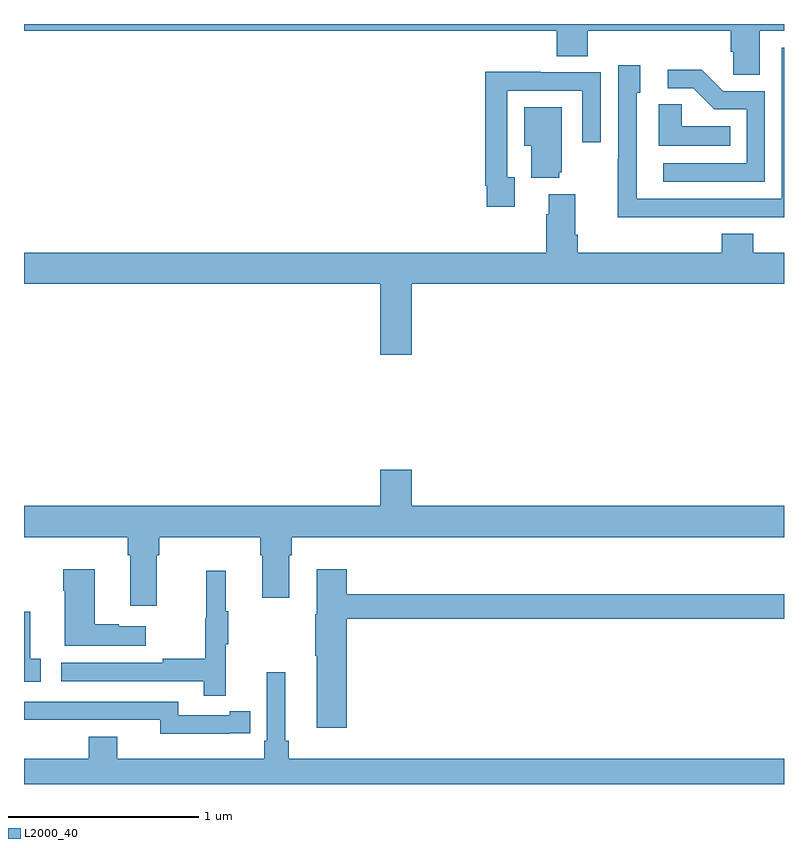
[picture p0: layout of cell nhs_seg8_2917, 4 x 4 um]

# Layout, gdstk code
import gdstk
lib = gdstk.Library(unit=1e-6, precision=1e-09)
def P(c, l, *ps):  # polygons
    for p in ps: c.add(gdstk.Polygon(p, *l))
L2000_40 = (2000, 40)

nhs_seg8_2917 = lib.new_cell('nhs_seg8_2917')
P(nhs_seg8_2917, L2000_40, [(298.873,1085.864),(299,1085.864),(299,1085.9),(295,1085.9),(295,1085.864),(297.803,1085.864),(297.803,1085.731),(297.968,1085.731),(297.968,1085.864),(298.721,1085.864),(298.721,1085.755),(298.734,1085.755),(298.734,1085.632),(298.873,1085.632)],
  [(298.589,1084.884),(299,1084.884),(299,1085.775),(298.989,1085.775),(298.989,1084.98),(298.224,1084.98),(298.224,1085.538),(298.243,1085.538),(298.243,1085.683),(298.128,1085.683),(298.128,1085.189),(298.126,1085.189),(298.126,1084.883),(298.589,1084.883)],
  [(298.899,1085.547),(298.68,1085.547),(298.567,1085.66),(298.389,1085.66),(298.389,1085.562),(298.523,1085.562),(298.634,1085.451),(298.803,1085.451),(298.803,1085.166),(298.365,1085.166),(298.365,1085.07),(298.899,1085.07)],
  [(297.583,1085.094),(297.543,1085.094),(297.543,1085.55),(297.939,1085.55),(297.939,1085.277),(298.035,1085.277),(298.035,1085.646),(297.719,1085.646),(297.719,1085.648),(297.427,1085.648),(297.427,1085.05),(297.435,1085.05),(297.435,1084.938),(297.583,1084.938)],
  [(298.718,1085.362),(298.461,1085.362),(298.461,1085.477),(298.34,1085.477),(298.34,1085.258),(298.718,1085.258)],
  [(297.818,1085.121),(297.829,1085.121),(297.829,1085.461),(297.632,1085.461),(297.632,1085.258),(297.671,1085.258),(297.671,1085.09),(297.818,1085.09)],
  [(297.04,1084.532),(299,1084.532),(299,1084.696),(298.838,1084.696),(298.838,1084.795),(298.673,1084.795),(298.673,1084.696),(297.914,1084.696),(297.914,1084.792),(297.901,1084.792),(297.901,1085.005),(297.761,1085.005),(297.761,1084.898),(297.749,1084.898),(297.749,1084.696),(295,1084.696),(295,1084.532),(296.876,1084.532),(296.876,1084.158),(297.04,1084.158)],
  [(295.699,1083.104),(295.712,1083.104),(295.712,1083.2),(296.243,1083.2),(296.243,1083.104),(296.255,1083.104),(296.255,1082.88),(296.395,1082.88),(296.395,1083.104),(296.408,1083.104),(296.408,1083.2),(299,1083.2),(299,1083.364),(297.04,1083.364),(297.04,1083.553),(296.876,1083.553),(296.876,1083.364),(295,1083.364),(295,1083.2),(295.547,1083.2),(295.547,1083.104),(295.559,1083.104),(295.559,1082.838),(295.699,1082.838)],
  [(295.642,1082.731),(295.499,1082.731),(295.499,1082.741),(295.372,1082.741),(295.372,1083.031),(295.207,1083.031),(295.207,1082.918),(295.214,1082.918),(295.214,1082.627),(295.642,1082.627)],
  [(296.699,1082.77),(299,1082.77),(299,1082.899),(296.699,1082.899),(296.699,1083.031),(296.54,1083.031),(296.54,1082.793),(296.533,1082.793),(296.533,1082.575),(296.54,1082.575),(296.54,1082.196),(296.699,1082.196)],
  [(296.063,1082.635),(296.074,1082.635),(296.074,1082.809),(296.063,1082.809),(296.063,1083.022),(295.96,1083.022),(295.96,1082.772),(295.953,1082.772),(295.953,1082.558),(295.729,1082.558),(295.729,1082.538),(295.197,1082.538),(295.197,1082.442),(295.945,1082.442),(295.945,1082.364),(296.063,1082.364)],
  [(295.087,1082.559),(295.034,1082.559),(295.034,1082.806),(295,1082.806),(295,1082.439),(295.087,1082.439)],
  [(299,1082.032),(296.393,1082.032),(296.393,1082.128),(296.374,1082.128),(296.374,1082.488),(296.277,1082.488),(296.277,1082.128),(296.264,1082.128),(296.264,1082.032),(295.492,1082.032),(295.492,1082.149),(295.34,1082.149),(295.34,1082.032),(295,1082.032),(295,1081.9),(299,1081.9)],
  [(296.084,1082.166),(296.192,1082.166),(296.192,1082.282),(296.084,1082.282),(296.084,1082.262),(295.812,1082.262),(295.812,1082.334),(295,1082.334),(295,1082.237),(295.256,1082.237),(295.256,1082.238),(295.716,1082.238),(295.716,1082.165),(296.084,1082.165)])

lib.write_gds('nhs_seg8_2917.gds')
